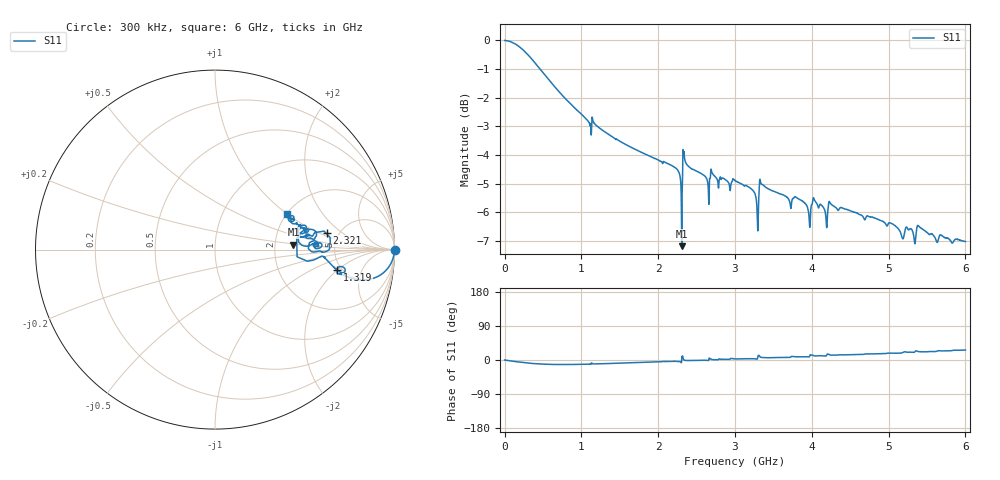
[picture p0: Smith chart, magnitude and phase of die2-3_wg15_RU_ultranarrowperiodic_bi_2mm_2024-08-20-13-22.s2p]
!Keysight Technologies,P9374A,MY57304198,A.17.20.09
!Date: Tuesday, August 20, 2024 13:22:09
!Correction: S11(C  1-Port  )
!S21(C  1-Port  )
!S12(Off)
!S22(Off)
!S2P File: Measurements: S11, S21, S12, S22:
# Hz S  dB  R 50
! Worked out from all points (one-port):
!   6000 points, 300 kHz to 6 GHz, reference 50 ohm
!   lowest |S11| = -7.2 dB at 2.307 GHz (marker M1), VSWR 2.56, Z = 127 + j8.9 ohm
!   |S11| at or under -10 dB: nowhere
!   S11 on the Smith chart (normalised r, x): 300 kHz: open; 1.319 GHz: 4.56, -1.99; 2.321 GHz: 3.99, +1.24; 6 GHz: 2.01, +0.99
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300000  0.00 -0.0  -200.00 45.0  -200.00 45.0  -200.00 45.0
4.173487e8  -0.85 -9.9  -200.00 45.0  -200.00 45.0  -200.00 45.0
1.000417e9  -2.57 -11.4  -200.00 45.0  -200.00 45.0  -200.00 45.0
1.319454e9  -3.21 -9.5  -200.00 45.0  -200.00 45.0  -200.00 45.0
2.000533e9  -4.17 -4.8  -200.00 45.0  -200.00 45.0  -200.00 45.0
2.274565e9  -4.63 -4.0  -200.00 45.0  -200.00 45.0  -200.00 45.0
2.306569e9  -7.18 3.7  -200.00 45.0  -200.00 45.0  -200.00 45.0
2.320571e9  -4.01 8.6  -200.00 45.0  -200.00 45.0  -200.00 45.0
2.349574e9  -4.19 -1.0  -200.00 45.0  -200.00 45.0  -200.00 45.0
2.644609e9  -4.96 -1.2  -200.00 45.0  -200.00 45.0  -200.00 45.0
2.711616e9  -4.66 0.9  -200.00 45.0  -200.00 45.0  -200.00 45.0
3.00065e9  -4.89 2.9  -200.00 45.0  -200.00 45.0  -200.00 45.0
3.229677e9  -5.22 3.4  -200.00 45.0  -200.00 45.0  -200.00 45.0
3.283683e9  -5.74 2.2  -200.00 45.0  -200.00 45.0  -200.00 45.0
3.325688e9  -4.85 8.5  -200.00 45.0  -200.00 45.0  -200.00 45.0
3.349691e9  -5.02 6.8  -200.00 45.0  -200.00 45.0  -200.00 45.0
3.94176e9  -5.80 8.3  -200.00 45.0  -200.00 45.0  -200.00 45.0
4.000767e9  -5.72 12.7  -200.00 45.0  -200.00 45.0  -200.00 45.0
4.161786e9  -5.87 10.7  -200.00 45.0  -200.00 45.0  -200.00 45.0
4.225793e9  -5.61 14.1  -200.00 45.0  -200.00 45.0  -200.00 45.0
5.000883e9  -6.37 18.0  -200.00 45.0  -200.00 45.0  -200.00 45.0
6e9  -7.01 26.3  -200.00 45.0  -200.00 45.0  -200.00 45.0
